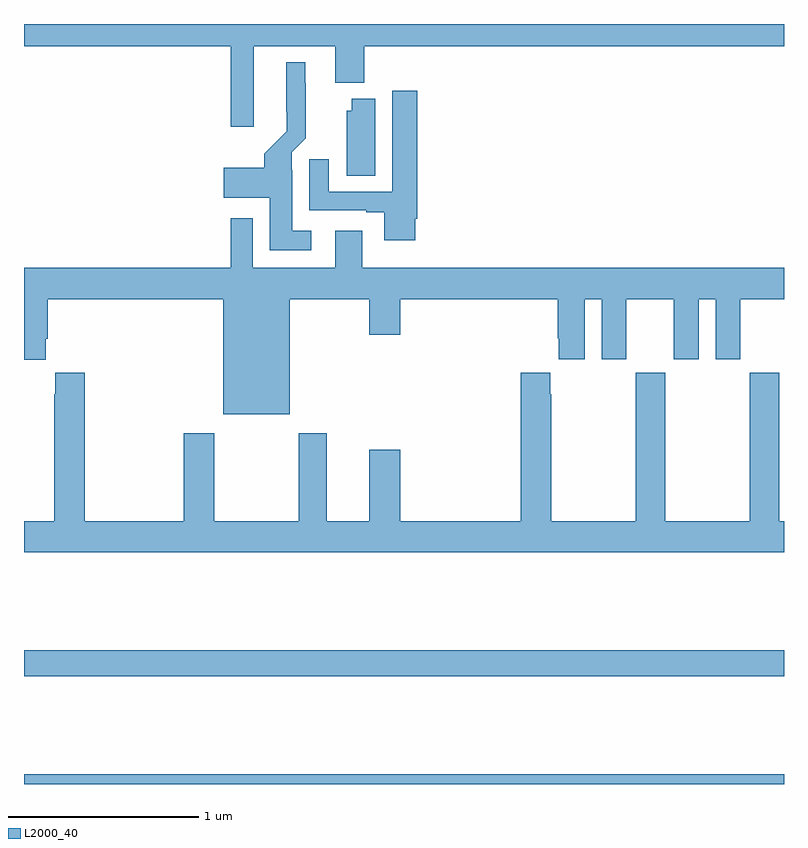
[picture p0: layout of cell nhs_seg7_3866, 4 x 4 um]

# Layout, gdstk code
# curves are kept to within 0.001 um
import gdstk
lib = gdstk.Library(unit=1e-6, precision=1e-09)
def R(c, l, rs):  # rectangles x0, y0, x1, y1
    for r in rs: c.add(gdstk.rectangle(r[:2], r[2:], *l))
def P(c, l, *ps):  # polygons
    for p in ps: c.add(gdstk.Polygon(p, *l))
L2000_40 = (2000, 40)

nhs_seg7_3866 = lib.new_cell('nhs_seg7_3866')
R(nhs_seg7_3866, L2000_40, [(355,1062,359,1062.052), (355,1062.568,359,1062.704)])
P(nhs_seg7_3866, L2000_40, [(355,1065.884),(356.087,1065.884),(356.087,1065.459),(356.209,1065.459),(356.209,1065.884),(356.639,1065.884),(356.639,1065.692),(356.792,1065.692),(356.792,1065.884),(359,1065.884),(359,1066),(355,1066)],
  [(356.512,1064.911),(356.413,1064.911),(356.413,1065.23),(356.409,1065.23),(356.409,1065.324),(356.483,1065.398),(356.483,1065.689),(356.479,1065.689),(356.479,1065.799),(356.381,1065.799),(356.382,1065.436),(356.264,1065.318),(356.264,1065.244),(356.052,1065.244),(356.052,1065.086),(356.294,1065.086),(356.294,1064.81),(356.512,1064.81)],
  [(357.058,1064.974),(357.071,1064.974),(357.071,1065.649),(356.939,1065.649),(356.939,1065.117),(356.605,1065.117),(356.605,1065.289),(356.501,1065.289),(356.501,1065.021),(356.801,1065.021),(356.801,1065.009),(356.897,1065.009),(356.897,1064.862),(357.058,1064.862)],
  [(356.848,1065.607),(356.726,1065.607),(356.726,1065.543),(356.699,1065.543),(356.699,1065.202),(356.848,1065.202)],
  [(356.398,1064.552),(356.816,1064.552),(356.816,1064.364),(356.98,1064.364),(356.98,1064.552),(357.809,1064.552),(357.809,1064.347),(357.815,1064.347),(357.815,1064.235),(357.952,1064.235),(357.952,1064.552),(358.04,1064.552),(358.04,1064.235),(358.171,1064.235),(358.171,1064.552),(358.421,1064.552),(358.421,1064.235),(358.552,1064.235),(358.552,1064.552),(358.64,1064.552),(358.64,1064.235),(358.771,1064.235),(358.771,1064.552),(359,1064.552),(359,1064.716),(356.779,1064.716),(356.779,1064.911),(356.639,1064.911),(356.639,1064.716),(356.205,1064.716),(356.205,1064.977),(356.089,1064.977),(356.089,1064.716),(355,1064.716),(355,1064.232),(355.114,1064.232),(355.114,1064.344),(355.124,1064.344),(355.124,1064.552),(356.048,1064.552),(356.048,1063.946),(356.398,1063.946)],
  [(359,1063.384),(358.974,1063.384),(358.974,1064.164),(358.819,1064.164),(358.819,1063.384),(358.374,1063.384),(358.374,1064.164),(358.219,1064.164),(358.219,1063.384),(357.774,1063.384),(357.774,1064.051),(357.769,1064.051),(357.769,1064.164),(357.614,1064.164),(357.614,1063.384),(356.98,1063.384),(356.98,1063.759),(356.816,1063.759),(356.816,1063.384),(356.593,1063.384),(356.593,1063.846),(356.446,1063.846),(356.446,1063.384),(356.001,1063.384),(356.001,1063.846),(355.841,1063.846),(355.841,1063.384),(355.319,1063.384),(355.319,1064.164),(355.165,1064.164),(355.165,1064.051),(355.159,1064.051),(355.159,1063.384),(355,1063.384),(355,1063.22),(359,1063.22)])

lib.write_gds('nhs_seg7_3866.gds')
